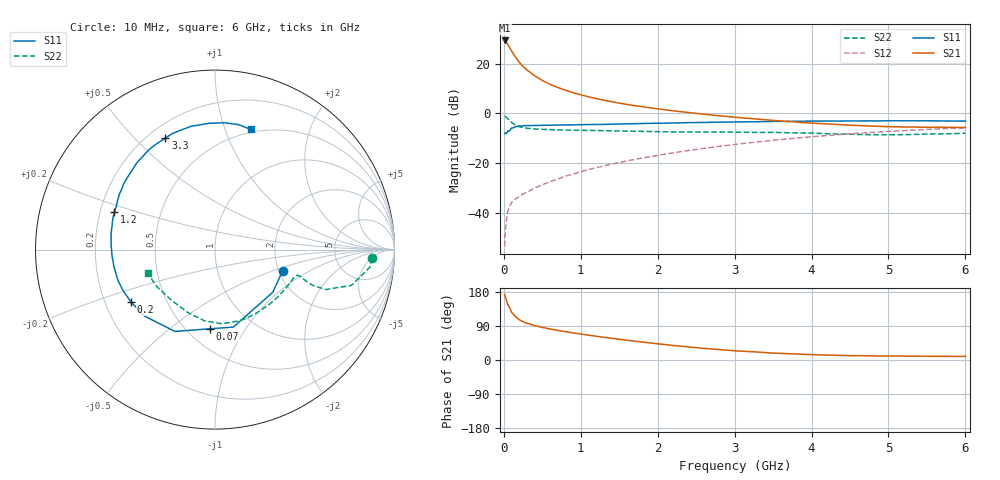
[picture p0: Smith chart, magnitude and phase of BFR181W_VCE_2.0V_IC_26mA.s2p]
! (c) 2017  Infineon Technologies AG, Munich
! Infineon Technologies  Discrete & RF Semiconductors
! BFR181W
! VCE =  2.0 V,  IC =  26 mA
! Common Emitter S-Parameters:  Jan 2017
# GHz  S  MA  R  50
!  f  S11  S21  S12  S22
! GHz  MAG  ANG  MAG  ANG  MAG  ANG  MAG  ANG
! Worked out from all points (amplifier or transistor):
!   77 points, 10 MHz to 6 GHz, reference 50 ohm
!   highest |S21| = 29.4 dB at 10 MHz (marker M1)
!   |S21| within 3 dB of that: start of sweep to 77.26 MHz
!   unconditionally stable (mu >= 1): start of sweep to 15.42 MHz; 228.9 MHz to end of sweep
!   at 130 MHz: K = 0.72, MSG = 29.4 dB, |S12| = -35.0 dB
!   at 2.2 GHz: K = 1.19, MAG = 5.8 dB, |S12| = -15.9 dB
!   at 6 GHz: K = 1.12, MAG = -2.1 dB, |S12| = -5.8 dB
!   S11 on the Smith chart (normalised r, x): 10 MHz: 2.10, -0.59; 70 MHz: 0.64, -0.71; 200 MHz: 0.31, -0.26; 1.2 GHz: 0.26, +0.17; 3.3 GHz: 0.27, +0.62; 6 GHz: 0.47, +1.23
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0.01  0.3949 -17.5  29.58 173.3  0.0021 78.0  0.8753 -3.1
0.02  0.4002 -36.4  28.73 165.5  0.0046 78.8  0.8682 -6.5
0.05  0.4436 -76.6  24.97 146.8  0.0102 67.7  0.7857 -14.7
0.07  0.4421 -93.6  21.95 140.0  0.0125 62.2  0.7335 -16.5
0.1  0.5076 -116.1  18.21 126.0  0.016 57.0  0.6569 -19.8
0.15  0.539 -136.4  13.73 114.3  0.0188 53.9  0.581 -20.1
0.2  0.552 -148.1  10.81 106.4  0.0211 54.0  0.5397 -19.1
0.25  0.5613 -156.5  8.873 101.0  0.0237 56.2  0.5168 -18.4
0.3  0.5673 -162.4  7.505 96.9  0.0257 57.9  0.5012 -17.6
0.4  0.571 -170.4  5.735 90.7  0.0312 61.7  0.4857 -17.2
0.5  0.5746 -176.5  4.618 86.0  0.0362 65.5  0.4764 -17.7
0.7  0.5811 175.1  3.336 78.2  0.0471 71.4  0.4667 -19.5
0.9  0.5876 168.0  2.616 71.5  0.0597 73.3  0.4595 -22.5
1.1  0.5962 162.3  2.163 65.6  0.0738 76.0  0.4541 -25.7
1.2  0.5984 159.4  1.991 62.7  0.0803 76.4  0.4513 -27.5
1.6  0.6165 149.5  1.518 52.1  0.1103 77.5  0.4403 -35.8
2.1  0.636 138.1  1.18 40.6  0.1511 76.2  0.4265 -48.0
3.1  0.6742 117.9  0.814 23.2  0.2458 68.9  0.4162 -74.5
3.3  0.6801 114.0  0.767 20.9  0.2661 67.0  0.414 -79.6
4.1  0.6997 99.3  0.626 13.6  0.3476 57.9  0.3952 -101.3
5.1  0.7079 84.6  0.536 10.4  0.4412 45.1  0.3719 -134.6
6  0.6988 73.4  0.52 9.4  0.5136 33.7  0.3977 -160.7
